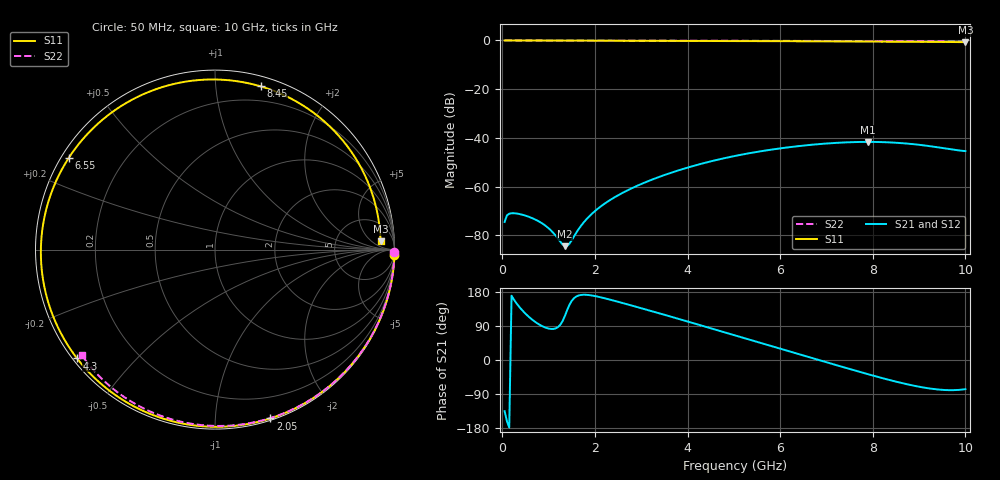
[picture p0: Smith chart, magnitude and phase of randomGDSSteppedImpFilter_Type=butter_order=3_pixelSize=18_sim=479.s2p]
! freq	dB(S11)	phase(S11)	dB(S12)	phase(S12)
!  dB(S21)	phase(S21)	dB(S22)	phase(S22)
!S-par simulation data
#  GHz  S  DB  R 50
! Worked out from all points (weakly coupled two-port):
!   200 points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, 50 MHz to 10 GHz, reference 50 ohm
!   highest |S21| = -41.63 dB at 7.9 GHz (marker M1); lowest = -84.4 dB at 1.35 GHz (marker M2)
!   lowest |S11| = -0.7 dB at 10 GHz (marker M3), VSWR 25.05, Z = 910 + j558 ohm
!   |S11| at or under -10 dB: nowhere
!   |S22| runs from -0.5 to 0.0 dB; largest |S21 - S12| = 0
!   S11 on the Smith chart (normalised r, x): 50 MHz: 0, -63; 2.05 GHz: 0.01, -1.38; 4.3 GHz: 0.01, -0.35; 6.55 GHz: 0.02, +0.29; 8.45 GHz: 0.08, +1.31; 10 GHz: 18, +11
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0.05  -0.00 -1.8  -74.50 -134.9  -74.50 -134.9  -0.00 -0.8
0.15  -0.00 -5.5  -71.11 -178.0  -71.11 -178.0  -0.00 -2.4
0.4  -0.01 -14.5  -71.37 135.4  -71.37 135.4  -0.01 -6.5
0.85  -0.04 -30.7  -74.95 90.1  -74.95 90.1  -0.02 -13.9
1.15  -0.05 -41.2  -80.06 83.3  -80.06 83.3  -0.02 -18.7
1.35  -0.06 -48.2  -84.43 115.8  -84.43 115.8  -0.03 -21.9
1.55  -0.07 -55.0  -80.38 163.3  -80.38 163.3  -0.03 -25.1
1.75  -0.08 -61.8  -74.87 172.2  -74.87 172.2  -0.04 -28.3
2.05  -0.09 -71.8  -69.24 167.5  -69.24 167.5  -0.04 -33.0
2.7  -0.11 -92.8  -61.55 146.9  -61.55 146.9  -0.06 -43.1
3.4  -0.14 -114.6  -55.92 122.8  -55.92 122.8  -0.07 -53.8
4.3  -0.19 -141.7  -50.60 90.9  -50.60 90.9  -0.09 -67.0
5.05  -0.23 -164.2  -47.30 63.8  -47.30 63.8  -0.12 -77.7
5.8  -0.28 172.6  -44.84 36.7  -44.84 36.7  -0.15 -88.0
6.55  -0.34 148.0  -43.05 10.0  -43.05 10.0  -0.18 -98.0
6.7  -0.35 142.8  -42.78 4.6  -42.78 4.6  -0.19 -100.0
7.35  -0.40 119.3  -41.89 -18.4  -41.89 -18.4  -0.23 -108.4
7.9  -0.45 97.7  -41.63 -37.6  -41.63 -37.6  -0.27 -115.4
8.35  -0.49 78.8  -41.83 -52.4  -41.83 -52.4  -0.31 -121.1
8.45  -0.50 74.4  -41.92 -55.6  -41.92 -55.6  -0.32 -122.3
9.3  -0.58 35.8  -43.56 -76.4  -43.56 -76.4  -0.40 -132.9
10  -0.69 2.8  -45.40 -76.9  -45.40 -76.9  -0.47 -141.6
